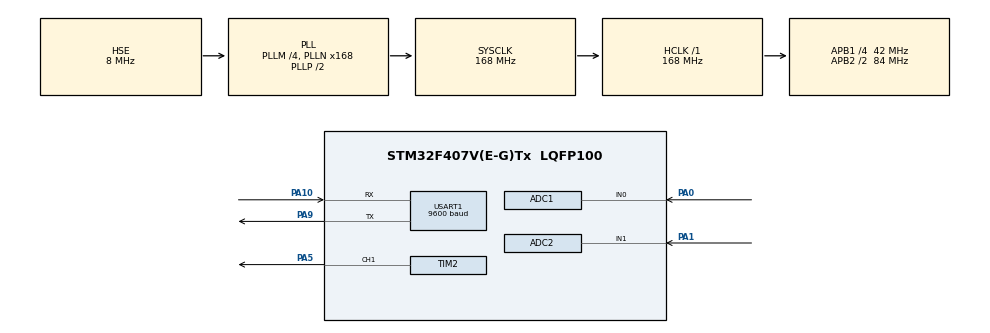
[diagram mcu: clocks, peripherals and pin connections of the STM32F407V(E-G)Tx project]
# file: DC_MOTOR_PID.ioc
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ADC1.Channel-0\#ChannelRegularConversion=ADC_CHANNEL_0
ADC1.ContinuousConvMode=ENABLE
ADC1.EOCSelection=ADC_EOC_SEQ_CONV
ADC1.NbrOfConversionFlag=1
ADC1.Rank-0\#ChannelRegularConversion=1
ADC1.SamplingTime-0\#ChannelRegularConversion=ADC_SAMPLETIME_480CYCLES
ADC1.ScanConvMode=DISABLE
ADC1.master=1
ADC2.Channel-1\#ChannelRegularConversion=ADC_CHANNEL_1
ADC2.ContinuousConvMode=ENABLE
ADC2.EOCSelection=ADC_EOC_SEQ_CONV
ADC2.NbrOfConversionFlag=1
ADC2.Rank-1\#ChannelRegularConversion=1
ADC2.SamplingTime-1\#ChannelRegularConversion=ADC_SAMPLETIME_480CYCLES
Mcu.Family=STM32F4
Mcu.Name=STM32F407V(E-G)Tx
Mcu.Package=LQFP100
NVIC.PriorityGroup=NVIC_PRIORITYGROUP_4
PA0-WKUP.Signal=ADCx_IN0
PA1.Signal=ADCx_IN1
PA10.Mode=Asynchronous
PA10.Signal=USART1_RX
PA5.Signal=S_TIM2_CH1_ETR
PA9.Mode=Asynchronous
PA9.Signal=USART1_TX
PH0-OSC_IN.Mode=HSE-External-Oscillator
PH0-OSC_IN.Signal=RCC_OSC_IN
PH1-OSC_OUT.Mode=HSE-External-Oscillator
PH1-OSC_OUT.Signal=RCC_OSC_OUT
ProjectManager.HeapSize=0x200
ProjectManager.StackSize=0x400
ProjectManager.TargetToolchain=STM32CubeIDE
RCC.48MHZClocksFreq_Value=84000000
RCC.AHBFreq_Value=168000000
RCC.APB1CLKDivider=RCC_HCLK_DIV4
RCC.APB1Freq_Value=42000000
RCC.APB1TimFreq_Value=84000000
RCC.APB2CLKDivider=RCC_HCLK_DIV2
RCC.APB2Freq_Value=84000000
RCC.APB2TimFreq_Value=168000000
RCC.CortexFreq_Value=168000000
RCC.HCLKFreq_Value=168000000
RCC.HSE_VALUE=8000000
RCC.HSI_VALUE=16000000
RCC.LSE_VALUE=32768
RCC.PLLM=4
RCC.PLLN=168
RCC.PLLSourceVirtual=RCC_PLLSOURCE_HSE
RCC.SYSCLKFreq_VALUE=168000000
RCC.SYSCLKSource=RCC_SYSCLKSOURCE_PLLCLK
RCC.VCOOutputFreq_Value=336000000
SH.ADCx_IN0.0=ADC1_IN0,IN0
SH.ADCx_IN1.0=ADC2_IN1,IN1
SH.S_TIM2_CH1_ETR.0=TIM2_CH1,PWM Generation1 CH1
TIM2.AutoReloadPreload=TIM_AUTORELOAD_PRELOAD_ENABLE
TIM2.Channel-PWM\ Generation1\ CH1=TIM_CHANNEL_1
TIM2.Period=4095
TIM2.Prescaler=40
USART1.BaudRate=9600
USART1.Mode=MODE_TX
USART1.OverSampling=UART_OVERSAMPLING_8
USART1.VirtualMode=VM_ASYNC
board=custom

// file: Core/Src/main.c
/* USER CODE BEGIN Header */
/**
  ******************************************************************************
  * @file           : main.c
  * @brief          : Main program body
  ******************************************************************************
  * @attention
  *
  * Copyright (c) 2022 STMicroelectronics.
  * All rights reserved.
  *
  * This software is licensed under terms that can be found in the LICENSE file
  * in the root directory of this software component.
  * If no LICENSE file comes with this software, it is provided AS-IS.
  *
  ******************************************************************************
  */
/* USER CODE END Header */
#include "main.h"

ADC_HandleTypeDef hadc1;
ADC_HandleTypeDef hadc2;

TIM_HandleTypeDef htim2;

UART_HandleTypeDef huart1;

/* USER CODE BEGIN PV */

uint16_t ADCValueForOutput;
uint16_t PWM;
uint16_t error;
double kp = 8 ,ki = 1;
double pid_p = 0,pid_i = 0;
double PID = 0;
const int8_t MinThreshold = -10;
const int8_t MaxThreshold = 10;
const uint16_t MAX_PWM = 4095;
uint8_t Buffer[4] = {0};
uint8_t Size = 100;
uint16_t ADC_Buffer[100] ={0};
uint32_t sum;

/* USER CODE END PV */

void SystemClock_Config(void);
static void MX_GPIO_Init(void);
static void MX_ADC1_Init(void);
static void MX_TIM2_Init(void);
static void MX_ADC2_Init(void);
static void MX_USART1_UART_Init(void);

int main(void)
{

  /* MCU Configuration--------------------------------------------------------*/

  /* Reset of all peripherals, Initializes the Flash interface and the Systick. */
  HAL_Init();

  /* Configure the system clock */
  SystemClock_Config();

  /* Initialize all configured peripherals */
  MX_GPIO_Init();
  MX_ADC1_Init();
  MX_TIM2_Init();
  MX_ADC2_Init();
  MX_USART1_UART_Init();
  /* USER CODE BEGIN 2 */

  HAL_TIM_PWM_Start(&htim2,TIM_CHANNEL_1);
  HAL_ADC_Start(&hadc1);
  HAL_ADC_Start(&hadc2);

  /* USER CODE END 2 */

  /* Infinite loop */
  while (1)
  {

    /* USER CODE BEGIN 3 */
	  if(HAL_ADC_PollForConversion(&hadc2,HAL_MAX_DELAY) == HAL_OK)
		  PWM = HAL_ADC_GetValue(&hadc2);

	  __HAL_TIM_SET_COMPARE(&htim2,TIM_CHANNEL_1,PWM);
	  HAL_Delay(10);
	  __HAL_TIM_DISABLE(&htim2);
	  HAL_Delay(1);

	  while(Size--)
	  {
	  if(HAL_ADC_PollForConversion(&hadc1,HAL_MAX_DELAY) == HAL_OK)
           ADCValueForOutput = HAL_ADC_GetValue(&hadc1);
	  ADC_Buffer[Size - 100] = ADCValueForOutput;
	  }

	  Size = 100;

	  for(uint8_t i = 0 ; i<100 ; i++)
	  {
		  sum = sum + ADC_Buffer[i];
	  }
	  sum = 0;

	  ADCValueForOutput = sum/100;

	  __HAL_TIM_ENABLE(&htim2);

	  error = ADCValueForOutput - PWM;
	  pid_p = kp * error;

	  if(MinThreshold<error && error<MaxThreshold)
		  pid_i += ki*error ;

	  PID = pid_p + pid_i ;

	  PWM = PWM  - PID;

	  if(PWM < 0)
		  PWM = 0;
	  if(PWM > MAX_PWM)
		  PWM = MAX_PWM;

	  __HAL_TIM_SET_COMPARE(&htim2,TIM_CHANNEL_1,PWM);

	  Buffer[0]  =  (uint8_t)((PWM) & (0x00FF));
	  Buffer[1]  =  (uint8_t)((PWM>>8) & (0x00FF));
	  Buffer[2]  =  (uint8_t)((ADCValueForOutput) & (0x00FF));
	  Buffer[3]  =  (uint8_t)((ADCValueForOutput>>8) & (0x00FF));

	  HAL_UART_Transmit(&huart1, Buffer, 4, HAL_MAX_DELAY);

	  HAL_Delay(100);

	  /*if(HAL_ADC_PollForConversion(&hadc2,HAL_MAX_DELAY) == HAL_OK)
	  		  PWM = HAL_ADC_GetValue(&hadc2);

	  	  __HAL_TIM_SET_COMPARE(&htim2,TIM_CHANNEL_1,PWM);*/

  }
  /* USER CODE END 3 */
}

void SystemClock_Config(void)
{
  RCC_OscInitTypeDef RCC_OscInitStruct = {0};
  RCC_ClkInitTypeDef RCC_ClkInitStruct = {0};

  /** Configure the main internal regulator output voltage
  */
  __HAL_RCC_PWR_CLK_ENABLE();
  __HAL_PWR_VOLTAGESCALING_CONFIG(PWR_REGULATOR_VOLTAGE_SCALE1);

  /** Initializes the RCC Oscillators according to the specified parameters
  * in the RCC_OscInitTypeDef structure.
  */
  RCC_OscInitStruct.OscillatorType = RCC_OSCILLATORTYPE_HSE;
  RCC_OscInitStruct.HSEState = RCC_HSE_ON;
  RCC_OscInitStruct.PLL.PLLState = RCC_PLL_ON;
  RCC_OscInitStruct.PLL.PLLSource = RCC_PLLSOURCE_HSE;
  RCC_OscInitStruct.PLL.PLLM = 4;
  RCC_OscInitStruct.PLL.PLLN = 168;
  RCC_OscInitStruct.PLL.PLLP = RCC_PLLP_DIV2;
  RCC_OscInitStruct.PLL.PLLQ = 4;
  if (HAL_RCC_OscConfig(&RCC_OscInitStruct) != HAL_OK)
  {
    Error_Handler();
  }

  /** Initializes the CPU, AHB and APB buses clocks
  */
  RCC_ClkInitStruct.ClockType = RCC_CLOCKTYPE_HCLK|RCC_CLOCKTYPE_SYSCLK
                              |RCC_CLOCKTYPE_PCLK1|RCC_CLOCKTYPE_PCLK2;
  RCC_ClkInitStruct.SYSCLKSource = RCC_SYSCLKSOURCE_PLLCLK;
  RCC_ClkInitStruct.AHBCLKDivider = RCC_SYSCLK_DIV1;
  RCC_ClkInitStruct.APB1CLKDivider = RCC_HCLK_DIV4;
  RCC_ClkInitStruct.APB2CLKDivider = RCC_HCLK_DIV2;

  if (HAL_RCC_ClockConfig(&RCC_ClkInitStruct, FLASH_LATENCY_5) != HAL_OK)
  {
    Error_Handler();
  }
}

static void MX_ADC1_Init(void)
{

  ADC_ChannelConfTypeDef sConfig = {0};

  /** Configure the global features of the ADC (Clock, Resolution, Data Alignment and number of conversion)
  */
  hadc1.Instance = ADC1;
  hadc1.Init.ClockPrescaler = ADC_CLOCK_SYNC_PCLK_DIV4;
  hadc1.Init.Resolution = ADC_RESOLUTION_12B;
  hadc1.Init.ScanConvMode = DISABLE;
  hadc1.Init.ContinuousConvMode = ENABLE;
  hadc1.Init.DiscontinuousConvMode = DISABLE;
  hadc1.Init.ExternalTrigConvEdge = ADC_EXTERNALTRIGCONVEDGE_NONE;
  hadc1.Init.ExternalTrigConv = ADC_SOFTWARE_START;
  hadc1.Init.DataAlign = ADC_DATAALIGN_RIGHT;
  hadc1.Init.NbrOfConversion = 1;
  hadc1.Init.DMAContinuousRequests = DISABLE;
  hadc1.Init.EOCSelection = ADC_EOC_SEQ_CONV;
  if (HAL_ADC_Init(&hadc1) != HAL_OK)
  {
    Error_Handler();
  }

  /** Configure for the selected ADC regular channel its corresponding rank in the sequencer and its sample time.
  */
  sConfig.Channel = ADC_CHANNEL_0;
  sConfig.Rank = 1;
  sConfig.SamplingTime = ADC_SAMPLETIME_480CYCLES;
  if (HAL_ADC_ConfigChannel(&hadc1, &sConfig) != HAL_OK)
  {
    Error_Handler();
  }

}

static void MX_ADC2_Init(void)
{

  ADC_ChannelConfTypeDef sConfig = {0};

  /** Configure the global features of the ADC (Clock, Resolution, Data Alignment and number of conversion)
  */
  hadc2.Instance = ADC2;
  hadc2.Init.ClockPrescaler = ADC_CLOCK_SYNC_PCLK_DIV4;
  hadc2.Init.Resolution = ADC_RESOLUTION_12B;
  hadc2.Init.ScanConvMode = DISABLE;
  hadc2.Init.ContinuousConvMode = ENABLE;
  hadc2.Init.DiscontinuousConvMode = DISABLE;
  hadc2.Init.ExternalTrigConvEdge = ADC_EXTERNALTRIGCONVEDGE_NONE;
  hadc2.Init.ExternalTrigConv = ADC_SOFTWARE_START;
  hadc2.Init.DataAlign = ADC_DATAALIGN_RIGHT;
  hadc2.Init.NbrOfConversion = 1;
  hadc2.Init.DMAContinuousRequests = DISABLE;
  hadc2.Init.EOCSelection = ADC_EOC_SEQ_CONV;
  if (HAL_ADC_Init(&hadc2) != HAL_OK)
  {
    Error_Handler();
  }

  /** Configure for the selected ADC regular channel its corresponding rank in the sequencer and its sample time.
  */
  sConfig.Channel = ADC_CHANNEL_1;
  sConfig.Rank = 1;
  sConfig.SamplingTime = ADC_SAMPLETIME_480CYCLES;
  if (HAL_ADC_ConfigChannel(&hadc2, &sConfig) != HAL_OK)
  {
    Error_Handler();
  }

}

static void MX_TIM2_Init(void)
{

  TIM_MasterConfigTypeDef sMasterConfig = {0};
  TIM_OC_InitTypeDef sConfigOC = {0};

  htim2.Instance = TIM2;
  htim2.Init.Prescaler = 40;
  htim2.Init.CounterMode = TIM_COUNTERMODE_UP;
  htim2.Init.Period = 4095;
  htim2.Init.ClockDivision = TIM_CLOCKDIVISION_DIV1;
  htim2.Init.AutoReloadPreload = TIM_AUTORELOAD_PRELOAD_ENABLE;
  if (HAL_TIM_PWM_Init(&htim2) != HAL_OK)
  {
    Error_Handler();
  }
  sMasterConfig.MasterOutputTrigger = TIM_TRGO_RESET;
  sMasterConfig.MasterSlaveMode = TIM_MASTERSLAVEMODE_DISABLE;
  if (HAL_TIMEx_MasterConfigSynchronization(&htim2, &sMasterConfig) != HAL_OK)
  {
    Error_Handler();
  }
  sConfigOC.OCMode = TIM_OCMODE_PWM1;
  sConfigOC.Pulse = 0;
  sConfigOC.OCPolarity = TIM_OCPOLARITY_HIGH;
  sConfigOC.OCFastMode = TIM_OCFAST_DISABLE;
  if (HAL_TIM_PWM_ConfigChannel(&htim2, &sConfigOC, TIM_CHANNEL_1) != HAL_OK)
  {
    Error_Handler();
  }
  HAL_TIM_MspPostInit(&htim2);

}

static void MX_USART1_UART_Init(void)
{

  huart1.Instance = USART1;
  huart1.Init.BaudRate = 9600;
  huart1.Init.WordLength = UART_WORDLENGTH_8B;
  huart1.Init.StopBits = UART_STOPBITS_1;
  huart1.Init.Parity = UART_PARITY_NONE;
  huart1.Init.Mode = UART_MODE_TX;
  huart1.Init.HwFlowCtl = UART_HWCONTROL_NONE;
  huart1.Init.OverSampling = UART_OVERSAMPLING_8;
  if (HAL_UART_Init(&huart1) != HAL_OK)
  {
    Error_Handler();
  }

}

static void MX_GPIO_Init(void)
{

  /* GPIO Ports Clock Enable */
  __HAL_RCC_GPIOH_CLK_ENABLE();
  __HAL_RCC_GPIOA_CLK_ENABLE();

}

void Error_Handler(void)
{
  __disable_irq();
  while (1)
  {
  }
}
